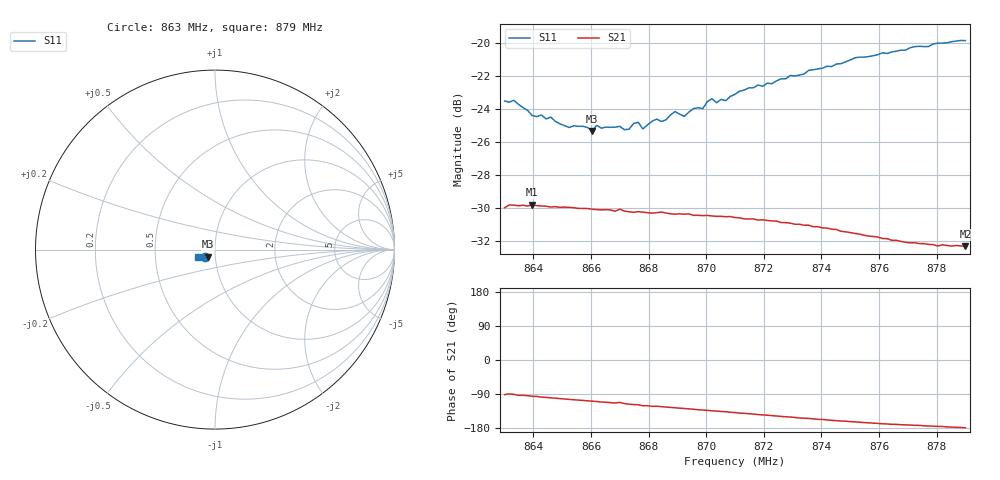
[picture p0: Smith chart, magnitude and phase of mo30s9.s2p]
# HZ S RI R 50
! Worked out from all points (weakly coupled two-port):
!   101 points, 863 MHz to 879 MHz, reference 50 ohm
!   highest |S21| = -29.78 dB at 863.96 MHz (marker M1); lowest = -32.3 dB at 879 MHz (marker M2)
!   lowest |S11| = -25.3 dB at 866.04 MHz (marker M3), VSWR 1.11, Z = 46.2 - j3.58 ohm
!   |S11| at or under -10 dB: start of sweep to end of sweep
!   S12 and S22 are empty: the file has one direction only
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8.63e8  -0.0539 -0.0394  -0.000738 -0.0317  0 0  0 0
8.6332e8  -0.0551 -0.0383  -0.000364 -0.0323  0 0  0 0
8.6396e8  -0.0471 -0.0376  -0.00327 -0.0323  0 0  0 0
8.646e8  -0.0455 -0.0387  -0.00545 -0.0314  0 0  0 0
8.6524e8  -0.0408 -0.0376  -0.00768 -0.0309  0 0  0 0
8.6572e8  -0.0394 -0.0397  -0.00908 -0.0302  0 0  0 0
8.6604e8  -0.0379 -0.0386  -0.01 -0.0298  0 0  0 0
8.662e8  -0.0389 -0.0408  -0.0105 -0.0295  0 0  0 0
8.6716e8  -0.0349 -0.0421  -0.0131 -0.0281  0 0  0 0
8.6764e8  -0.0354 -0.0454  -0.0146 -0.0272  0 0  0 0
8.678e8  -0.0333 -0.0437  -0.0157 -0.0264  0 0  0 0
8.6828e8  -0.035 -0.0473  -0.0162 -0.026  0 0  0 0
8.6844e8  -0.0331 -0.0475  -0.0168 -0.0258  0 0  0 0
8.6892e8  -0.0361 -0.0504  -0.0179 -0.0245  0 0  0 0
8.6924e8  -0.0327 -0.0503  -0.0187 -0.0239  0 0  0 0
8.6988e8  -0.0337 -0.0536  -0.0201 -0.0223  0 0  0 0
8.702e8  -0.0388 -0.0556  -0.0208 -0.0215  0 0  0 0
8.7036e8  -0.036 -0.0553  -0.021 -0.0212  0 0  0 0
8.71e8  -0.0401 -0.0573  -0.0223 -0.0196  0 0  0 0
8.7372e8  -0.0544 -0.0627  -0.0252 -0.0117  0 0  0 0
8.7644e8  -0.0751 -0.0564  -0.0249 -0.00451  0 0  0 0
8.79e8  -0.0938 -0.0392  -0.0243 -0.000502  0 0  0 0
